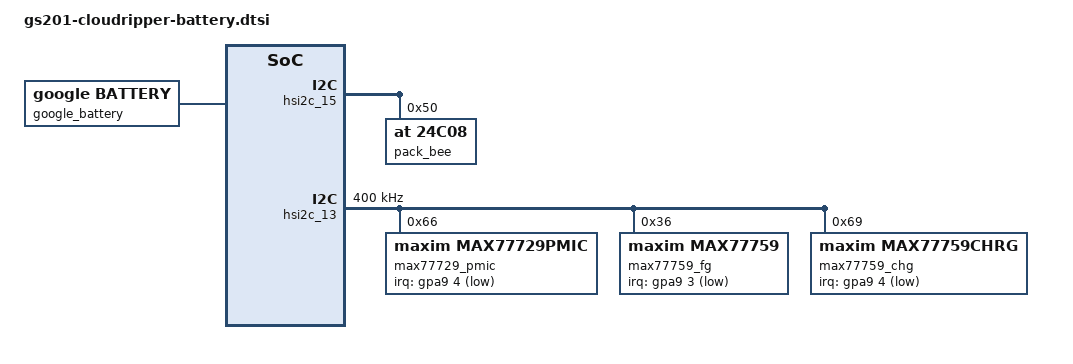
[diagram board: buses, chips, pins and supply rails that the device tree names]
// SPDX-License-Identifier: GPL-2.0-only
/*
 * Battery device tree entries specific to raviole
 *
 * Copyright 2020 Google,LLC
 *
 */

#include <dt-bindings/interrupt-controller/irq.h>

/ {
	fragment@battery {
		target-path = "/";
		__overlay__ {

			google_battery: google,battery {
				status = "okay";
				compatible = "google,battery";
				google,fg-psy-name = "maxfg";

				/* charge table */
				google,chg-temp-limits = <0 100 200 420 460 480 550>;
				google,chg-cv-limits = <4200000 4300000 4450000>;
				google,chg-cc-limits = <
					30  10   0
					50  30  30
					100  70  50
					80  50  50
					50  50   0
					30   0   0
				>;

				google,aact-cv-limits = <4200000 4300000 4450000>;
				google,aact-temp-limits = <0 100 200 420 460 480 550>;
				google,chg-aact-ecc = <0 300 1000>;
				google,aact-cc-limits = <
					30  10   0
					50  30  30
					100  70  50
					80  50  50
					50  50   0
					30   0   0
					30  10   0
					50  30  30
					95  70  50
					80  50  50
					50  50   0
					30   0   0
					30  10   0
					50  30  30
					90  70  50
					80  50  50
					50  50   0
					30   0   0
				>;

				google,ttf-temp-idx= <2>;
				google,ttf-adapter = <1800>;
				google,ttf-soc-table =  <49 59 72 78 93 95  98 100>;
				google,ttf-elap-table = <45 52 56 67 78 91 104 120>;
				google,ttf-tier-table = <0 71 78>;

				/* IRDrop Compensation */
				google,fv-uv-resolution = <10000>;
				/* NOTE: high value for DC charging */
				google,fv-uv-margin-dpct = <1025>;
				/* tier switch */
				google,cv-range-accuracy = <20000>;
				google,cv-otv-margin = <12000>;
				google,cv-debounce-cnt = <3>;
				google,cv-tier-ov-cnt = <10>;
				google,cv-tier-switch-cnt = <3>;

				google,eeprom-pairing;

				/* rest charging */
				google,chg-rest-rate = <15>;
				google,chg-rest-soc = <80>;
				/* TRICKLE-DEFEND threshold */
				google,bd-trickle-recharge-soc = <80>;
				/* Disable TRICKLE-DEFEND, b/259428308 */
				/* google,bd-trickle-enable; */
				/* Battery virtual sensor */
				google,batt-vs-tz-name = "batt_vs";

				/* record over temperature time */
				google,temp-record-thr = <300 350 400>;
				google,soc-record-thr = <90 90 95>;

				#thermal-sensor-cells = <0>;
				#cooling-cells = <2>;
				google,dc-irdrop;
				google,fv-dc-ratio = <35>;

				google,bhi-status-marginal = <79>;
				google,bhi-status-need-rep = <79>;
				google,bhi-cycle-grace = <200>;

				google,first-usage-date = <0>;
			};

			google_bms {
				nvmem = <&pack_bee>;
				nvmem-names = "6-00500";
				/* pack eeprom is available only with P20+ batteries */
				google,bee-name = "6-00500";
			};

		};
	};
};

&pinctrl_0 {
/* [MAX77759: FG_INTB] > FG_INT_L > [XEINT_23 : SC59845XWE] */
	if_pmic_fg_irq: if-pmic-fg-irq {
		samsung,pins = "gpa9-3"; /* XEINT_23 */
		samsung,pin-function = <EXYNOS_PIN_FUNC_EINT>;
		samsung,pin-pud = <EXYNOS_PIN_PULL_UP>;
		samsung,pin-drv = <GS101_PIN_DRV_2_5_MA>;
	};
};

&pinctrl_0 {
/* [MAX77729FEWN : INTB] > IF_PMIC_IRQ_L > [XEINT_24 : SC59845XWE] */
	if_pmic_irq: if-pmic-irq {
		samsung,pins = "gpa9-4";
		samsung,pin-function = <EXYNOS_PIN_FUNC_EINT>;
		samsung,pin-pud = <EXYNOS_PIN_PULL_UP>;
		samsung,pin-drv = <GS101_PIN_DRV_2_5_MA>;
	};

};

&hsi2c13_bus {
	samsung,pins = "gpp25-0", "gpp25-1";
	samsung,pin-pud = <EXYNOS_PIN_PULL_NONE>;
	samsung,pin-con-pdn = <EXYNOS_PIN_PDN_PREV>;
	samsung,pin-pud-pdn = <EXYNOS_PIN_PULL_NONE>;
};

&hsi2c_15 {
	#address-cells = <1>;
	#size-cells = <0>;
	status = "okay";

	pinctrl-names = "default";
	pinctrl-0 = <&hsi2c15_bus>;

	pack_bee: m24c08@50 {
		status = "okay";
		compatible = "at,24c08";

		reg = <0x50>;
	};
};

&hsi2c_13 {

	#address-cells = <1>;
	#size-cells = <0>;
	status = "okay";
	clock-frequency = <400000>;

	/* also as max77759 pmic  */
	max77729_pmic:max77729pmic@66 {
		status = "okay";
		compatible = "maxim,max77729pmic";
		reg = <0x66>;

		pinctrl-names = "default";
		pinctrl-0 = <&if_pmic_irq>;
		max777x9,irq-gpio = <&gpa9 4 GPIO_ACTIVE_LOW>;

		max77759,max_m5 = <&max77759_fg>;

		max777x9_gpio: max777x9_gpio {
			gpio-controller;
			#gpio-cells = <2>;
			ngpios = <6>;

			interrupt-parent = <&gpa9>;
			interrupt-controller;
			#interrupt-cells = <2>;
			interrupts = <5 IRQ_TYPE_NONE>,
				     <6 IRQ_TYPE_NONE>;
		};
	};

	max77759_fg:max77759fg@36 {
		status = "okay";
		compatible = "maxim,max77759";
		reg = <0x36>;

		/* FG_INT_L -> XEINT_23 */
		pinctrl-names = "default";
		pinctrl-0 = <&if_pmic_fg_irq>;
		maxim,irq-gpio = <&gpa9 3 GPIO_ACTIVE_LOW>;

		maxim,gauge-type = <2>;
		maxim,force-batt-id = <170>;
		maxim,rsense-default = <500>;
		maxim,batt-id-range-pct = <0>;

		maxim,psy-type-unknown;
		maxim,fg-data {
			#include "gs101-fake-battery-data.dtsi"
		};
	};

	max77759_chg:max77759chrg@69 {
		status = "okay";
		compatible = "maxim,max77759chrg";
		reg = <0x69>;

		interrupt-parent = <&gpa9>;
		max77759,irq-gpio = <&gpa9 4 GPIO_ACTIVE_LOW>;

		max77759,max_m5 = <&max77759_fg>;
		max77759,pmic = <&max77729_pmic>;

		max77759,chg-term-voltage = <4400>;

		#thermal-sensor-cells = <1>;

		max77759,wcin-inlim-headroom = <40000>;

		max77759_gpio: max77759_gpio {
			gpio-controller;
			#gpio-cells = <2>;
			ngpios = <1>;
		};
	};

};


